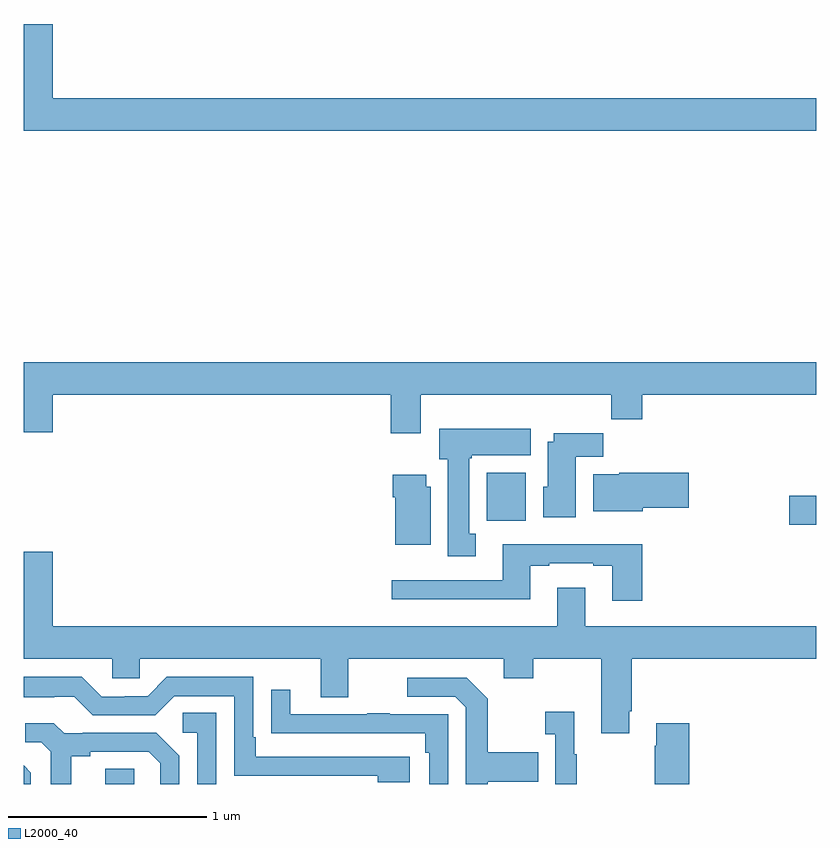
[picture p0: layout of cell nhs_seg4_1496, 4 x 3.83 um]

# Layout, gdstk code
import gdstk
lib = gdstk.Library(unit=1e-6, precision=1e-09)
def R(c, l, rs):  # rectangles x0, y0, x1, y1
    for r in rs: c.add(gdstk.rectangle(r[:2], r[2:], *l))
def P(c, l, *ps):  # polygons
    for p in ps: c.add(gdstk.Polygon(p, *l))
L2000_40 = (2000, 40)

nhs_seg4_1496 = lib.new_cell('nhs_seg4_1496')
R(nhs_seg4_1496, L2000_40, [(189.413,750.9,189.558,750.977), (192.864,752.207,193,752.354), (191.336,752.228,191.533,752.47)])
P(nhs_seg4_1496, L2000_40, [(193,754.36),(189.148,754.36),(189.148,754.735),(189,754.735),(189,754.196),(193,754.196)],
  [(191.005,752.864),(191.965,752.864),(191.965,752.74),(192.122,752.74),(192.122,752.864),(193,752.864),(193,753.028),(189,753.028),(189,752.676),(189.148,752.676),(189.148,752.864),(190.853,752.864),(190.853,752.67),(191.005,752.67)],
  [(191.281,752.162),(191.248,752.162),(191.248,752.545),(191.262,752.545),(191.262,752.558),(191.56,752.558),(191.56,752.692),(191.096,752.692),(191.096,752.538),(191.141,752.538),(191.141,752.049),(191.281,752.049)],
  [(191.785,752.552),(191.924,752.552),(191.924,752.671),(191.675,752.671),(191.675,752.626),(191.645,752.626),(191.645,752.4),(191.621,752.4),(191.621,752.246),(191.785,752.246)],
  [(192.124,752.294),(192.355,752.294),(192.355,752.47),(192.006,752.47),(192.006,752.464),(191.873,752.464),(191.873,752.276),(192.124,752.276)],
  [(191.053,752.4),(191.032,752.4),(191.032,752.461),(190.862,752.461),(190.862,752.348),(190.874,752.348),(190.874,752.108),(191.053,752.108)],
  [(192.122,752.11),(191.417,752.11),(191.417,751.929),(190.857,751.929),(190.857,751.832),(191.557,751.832),(191.557,752.001),(191.653,752.001),(191.653,752.013),(191.873,752.013),(191.873,752.001),(191.969,752.001),(191.969,751.824),(192.122,751.824)],
  [(192.055,751.267),(192.068,751.267),(192.068,751.532),(193,751.532),(193,751.696),(191.833,751.696),(191.833,751.891),(191.693,751.891),(191.693,751.696),(189.148,751.696),(189.148,752.071),(189,752.071),(189,751.532),(189.447,751.532),(189.447,751.434),(189.585,751.434),(189.585,751.532),(190.499,751.532),(190.499,751.338),(190.639,751.338),(190.639,751.532),(191.423,751.532),(191.423,751.433),(191.571,751.433),(191.571,751.532),(191.915,751.532),(191.915,751.155),(192.055,751.155)],
  [(190.948,751.038),(190.171,751.038),(190.171,751.135),(190.158,751.135),(190.158,751.44),(189.723,751.44),(189.627,751.344),(189.509,751.344),(189.509,751.341),(189.393,751.341),(189.293,751.441),(189,751.441),(189,751.337),(189.155,751.337),(189.155,751.341),(189.255,751.341),(189.348,751.248),(189.663,751.248),(189.759,751.344),(190.062,751.344),(190.062,750.942),(190.787,750.942),(190.787,750.908),(190.948,750.908)],
  [(191.341,750.911),(191.597,750.911),(191.597,751.059),(191.341,751.059),(191.341,751.331),(191.235,751.437),(190.935,751.437),(190.935,751.341),(191.178,751.341),(191.232,751.287),(191.232,750.9),(191.341,750.9)],
  [(191.142,751.251),(190.847,751.251),(190.847,751.256),(190.735,751.256),(190.735,751.251),(190.345,751.251),(190.345,751.375),(190.249,751.375),(190.249,751.156),(190.351,751.156),(190.351,751.155),(191.026,751.155),(191.026,751.058),(191.046,751.058),(191.046,750.9),(191.142,750.9)],
  [(191.791,751.051),(191.779,751.051),(191.779,751.264),(191.631,751.264),(191.631,751.151),(191.682,751.151),(191.682,750.9),(191.791,750.9)],
  [(189.972,751.259),(189.804,751.259),(189.804,751.158),(189.876,751.158),(189.876,750.9),(189.972,750.9)],
  [(189.241,751.04),(189.337,751.04),(189.337,751.062),(189.632,751.062),(189.689,751.005),(189.689,750.9),(189.786,750.9),(189.786,751.042),(189.67,751.158),(189.298,751.158),(189.298,751.155),(189.204,751.155),(189.152,751.207),(189.009,751.207),(189.009,751.11),(189.09,751.11),(189.137,751.063),(189.137,750.9),(189.241,750.9)],
  [(192.359,751.207),(192.191,751.207),(192.191,751.094),(192.184,751.094),(192.184,750.9),(192.359,750.9)],
  [(189.036,750.958),(189,750.994),(189,750.9),(189.036,750.9)])

lib.write_gds('nhs_seg4_1496.gds')
